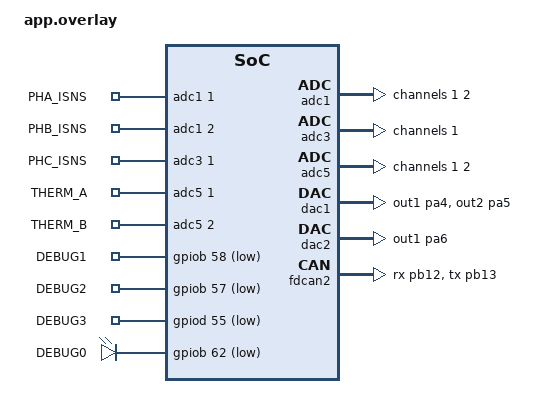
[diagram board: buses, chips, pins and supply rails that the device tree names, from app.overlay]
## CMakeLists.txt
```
cmake_minimum_required(VERSION 3.20.0)

find_package(Zephyr REQUIRED HINTS $ENV{ZEPHYR_BASE})

project("oresat-reaction-wheel" LANGUAGES C)

execute_process(COMMAND bash -c "oresat-configs canopennode od.yaml ../../common/od.yaml -d gen")

target_sources(app PRIVATE
  src/main.c
  gen/OD.c
)

zephyr_include_directories(gen)
```

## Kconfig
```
menu "Zephyr"
source "Kconfig.zephyr"
config MYAPP_STM32
  default y
  bool
  select USE_STM32_HAL_HRTIM
endmenu

module = APP
module-str = APP
```

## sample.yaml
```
sample:
  name: oresat-reaction-wheel
common:
  tags:
    - can
    - canopen
  modules:
    - canopennode
  integration_platforms:
    - nucleo_g474re
```

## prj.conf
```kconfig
CONFIG_ADC=y
CONFIG_GPIO=y
CONFIG_SENSOR=y
CONFIG_CAN=y
CONFIG_CAN_DEFAULT_BITRATE=1000000
CONFIG_CANOPENNODE_V4=y
CONFIG_REBOOT=y
CONFIG_STM32_VREF=y
CONFIG_STM32_TEMP=y
```

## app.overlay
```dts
/*
RW 7.2 device tree

As of Nov 2024, Zephyr does not support HRTIM (High-Resolution Timers) for PWM.
So all HRTIM pins are configured via src/cube/hrtim.* (Generate CubeMX code).
Pins this includes:
- PC6: PHC_H
- PC7: PHC_L
- PC8: PHB_H
- PC9: PHB_L
- PA10: PHA_H
- PA11: PHA_L
*/

/ {
	chosen {
		zephyr,canbus = &fdcan2;
	};

	zephyr,user {
		io-channels = <&adc1 1>, <&adc1 2>, <&adc3 1>, <&adc5 1>, <&adc5 2>;
		io-channel-names = "PHA_ISNS", "PHB_ISNS", "PHC_ISNS", "THERM_A", "THERM_B";
	};

	gpio_inputs {
		compatible = "gpio-keys";
		debug1: debug_1 {
			gpios = <&gpiob 58 GPIO_ACTIVE_LOW>;
			label = "DEBUG1";
		};
		debug2: debug_2 {
			gpios = <&gpiob 57 GPIO_ACTIVE_LOW>;
			label = "DEBUG2";
		};
		debug3: debug_3 {
			gpios = <&gpiod 55 GPIO_ACTIVE_LOW>;
			label = "DEBUG3";
		};
	};

	gpio_outputs {
		compatible = "gpio-leds";
		debug0: debug_0 {
			gpios = <&gpiob 62 GPIO_ACTIVE_LOW>;
			label = "DEBUG0";
		};
	};
};

&adc1 {
	status = "okay";
	#address-cells = <1>;
	#size-cells = <0>;
	st,adc-clock-source = <SYNC>;
	st,adc-prescaler = <4>;

	channel@1 { /* PHA_ISNS */
		reg = <1>;
		zephyr,gain = "ADC_GAIN_1";
		zephyr,reference = "ADC_REF_INTERNAL";
		zephyr,acquisition-time = <ADC_ACQ_TIME_DEFAULT>;
		zephyr,resolution = <12>;
	};

	channel@2 { /* PHB_ISNS */
		reg = <2>;
		zephyr,gain = "ADC_GAIN_1";
		zephyr,reference = "ADC_REF_INTERNAL";
		zephyr,acquisition-time = <ADC_ACQ_TIME_DEFAULT>;
		zephyr,resolution = <12>;
	};
};

&adc2 {
	status = "disabled";
};

&adc3 {
	status = "okay";
	#address-cells = <1>;
	#size-cells = <0>;
	st,adc-clock-source = <SYNC>;
	st,adc-prescaler = <4>;

	channel@1 { /* PHC_ISNS */
		reg = <1>;
		zephyr,gain = "ADC_GAIN_1";
		zephyr,reference = "ADC_REF_INTERNAL";
		zephyr,acquisition-time = <ADC_ACQ_TIME_DEFAULT>;
		zephyr,resolution = <12>;
	};
};

&adc4 {
	status = "disabled";
};

&adc5 {
	status = "okay";
	#address-cells = <1>;
	#size-cells = <0>;
	st,adc-clock-source = <SYNC>;
	st,adc-prescaler = <4>;

	channel@1 { /* THERM_A */
		reg = <1>;
		zephyr,gain = "ADC_GAIN_1";
		zephyr,reference = "ADC_REF_INTERNAL";
		zephyr,acquisition-time = <ADC_ACQ_TIME_DEFAULT>;
		zephyr,resolution = <12>;
	};

	channel@2 { /* THERM_B */
		reg = <2>;
		zephyr,gain = "ADC_GAIN_1";
		zephyr,reference = "ADC_REF_INTERNAL";
		zephyr,acquisition-time = <ADC_ACQ_TIME_DEFAULT>;
		zephyr,resolution = <12>;
	};
};

&dac1 {
	pinctrl-0 = <&dac1_out1_pa4 &dac1_out2_pa5>; /* SCOPE0 and SCOPE1 */
	pinctrl-names = "default";
	status = "okay";
};

&dac2 {
	pinctrl-0 = <&dac2_out1_pa6>; /* SCOPE2 */
	pinctrl-names = "default";
	status = "okay";
};

&dac3 {
	status = "disabled";
};

&dac4 {
	status = "disabled";
};

&fdcan1 {
	status = "disabled";
};

&fdcan2 {
	pinctrl-0 = <&fdcan2_rx_pb12 &fdcan2_tx_pb13>;
	pinctrl-names = "default";
	status = "okay";
};

&fdcan3 {
	status = "disabled";
};

&i2c1 {
	status = "disabled";
};

&i2c2 {
	status = "disabled";
};

&i2c3 {
	status = "disabled";
};

/* lpuart1 is already configured correctly */

&spi1 {
	status = "disabled";
};

&spi2 {
	status = "disabled"; /* default pins used by fdcan2 */
};

/* spi3 is already configured correctly */

&uart4 {
	status = "disabled";
};

&uart5 {
	status = "disabled";
};

&usart1 {
	status = "disabled";
};

&usart2 {
	status = "disabled";
};

&usart3 {
	status = "disabled";
};
```

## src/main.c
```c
#include <zephyr/kernel.h>
#include <zephyr/device.h>
#include <zephyr/drivers/gpio.h>
#include <zephyr/sys/reboot.h>
#include <canopennode.h>
#include <OD.h>
#include "board_sensors.h"
#include "oresat.h"
#include "aux_adc.h"
#include "pwm.h"

#define RW_BASE_NODE_ID 0x3C
#define CAN_INTERFACE   DEVICE_DT_GET(DT_CHOSEN(zephyr_canbus))
#define CAN_BITRATE                                                                                \
	(DT_PROP_OR(DT_CHOSEN(zephyr_canbus), bitrate,                                             \
		    DT_PROP_OR(DT_CHOSEN(zephyr_canbus), bus_speed, CONFIG_CAN_DEFAULT_BITRATE)) / \
	 1000)

static const struct gpio_dt_spec debug0 = GPIO_DT_SPEC_GET(DT_NODELABEL(debug0), gpios);
static const struct gpio_dt_spec debug1 = GPIO_DT_SPEC_GET(DT_NODELABEL(debug1), gpios);
static const struct gpio_dt_spec debug2 = GPIO_DT_SPEC_GET(DT_NODELABEL(debug2), gpios);
static const struct gpio_dt_spec debug3 = GPIO_DT_SPEC_GET(DT_NODELABEL(debug3), gpios);

uint8_t rw_get_node_id(void)
{
	int ret;

	if (!gpio_is_ready_dt(&debug0) || !gpio_is_ready_dt(&debug1) ||
	    !gpio_is_ready_dt(&debug2) || !gpio_is_ready_dt(&debug3)) {
		return DEFAULT_NODE_ID;
	}

	ret = gpio_pin_configure_dt(&debug0, GPIO_OUTPUT);
	ret += gpio_pin_configure_dt(&debug1, GPIO_INPUT);
	ret += gpio_pin_configure_dt(&debug2, GPIO_INPUT);
	ret += gpio_pin_configure_dt(&debug3, GPIO_INPUT);
	if (ret < 0) {
		return DEFAULT_NODE_ID;
	}

	gpio_pin_set_dt(&debug0, 1);
	int debug1_val = gpio_pin_get_dt(&debug1);
	int debug2_val = gpio_pin_get_dt(&debug2);
	int debug3_val = gpio_pin_get_dt(&debug3);
	gpio_pin_set_dt(&debug0, 0);

	if ((debug1_val < 0) || (debug2_val < 0) || (debug3_val < 0)) {
		return DEFAULT_NODE_ID;
	}
	return RW_BASE_NODE_ID + ((debug1_val + debug2_val + debug3_val) * 4);
}

int main(void)
{
	k_timepoint_t timepoint;
	uint8_t node_id = rw_get_node_id();

	canopennode_init(CAN_INTERFACE, CAN_BITRATE, node_id);
	board_sensors_init();
	aux_adc_init();
	hrtim_pwm_start();

	uint32_t loop = 0;
	uint32_t elapsed_us = 10000;
	while (canopennode_is_running()) {
		timepoint = sys_timepoint_calc(K_USEC(elapsed_us));
		if (loop % 10 == 0) {
			board_sensors_fill_od();
			aux_adc_update();
		}
		co_update(elapsed_us);
		k_sleep(sys_timepoint_timeout(timepoint));
		loop++;
	}

	hrtim_pwm_stop();
	canopennode_stop(CAN_INTERFACE);
	sys_reboot(SYS_REBOOT_COLD);

	return 0;
}
```

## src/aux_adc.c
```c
#include <zephyr/device.h>
#include <zephyr/devicetree.h>
#include <zephyr/drivers/adc.h>
#include <zephyr/kernel.h>
#include "aux_adc.h"

static const struct adc_dt_spec adc_channels[] = {
	ADC_DT_SPEC_GET_BY_NAME(DT_PATH(zephyr_user), therm_a),
	ADC_DT_SPEC_GET_BY_NAME(DT_PATH(zephyr_user), therm_b),
};
#define CHANNEL_COUNT ARRAY_SIZE(adc_channels)

static uint16_t buf = 0;
static struct adc_sequence sequence = {
	.buffer = &buf,
	/* buffer size in bytes, not number of samples */
	.buffer_size = sizeof(buf),
};

void aux_adc_init(void)
{
	int err;

	/* Configure channels individually prior to sampling. */
	for (size_t i = 0U; i < CHANNEL_COUNT; i++) {
		if (!adc_is_ready_dt(&adc_channels[i])) {
			printk("ADC controller device %s not ready\n", adc_channels[i].dev->name);
			return;
		}

		err = adc_channel_setup_dt(&adc_channels[i]);
		if (err < 0) {
			printk("Could not setup channel #%d (%d)\n", i, err);
			return;
		}
	}
}

void aux_adc_update(void)
{
	int err;

	for (size_t i = 0U; i < CHANNEL_COUNT; i++) {
		int32_t val_mv;

		printk("- %s, channel %d: ", adc_channels[i].dev->name, adc_channels[i].channel_id);

		(void)adc_sequence_init_dt(&adc_channels[i], &sequence);

		err = adc_read_dt(&adc_channels[i], &sequence);
		if (err < 0) {
			printk("Could not read (%d)\n", err);
			continue;
		}

		/*
		 * If using differential mode, the 16 bit value
		 * in the ADC sample buffer should be a signed 2's
		 * complement value.
		 */
		if (adc_channels[i].channel_cfg.differential) {
			val_mv = (int32_t)((int16_t)buf);
		} else {
			val_mv = (int32_t)buf;
		}
		printk("%" PRId32, val_mv);
		err = adc_raw_to_millivolts_dt(&adc_channels[i], &val_mv);
		/* conversion to mV may not be supported, skip if not */
		if (err < 0) {
			printk(" (value in mV not available)\n");
		} else {
			printk(" = %" PRId32 " mV\n", val_mv);
		}
	}
}
```

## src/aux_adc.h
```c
#ifndef AUX_ADC_H
#define AUX_ADC_H

void aux_adc_init(void);
void aux_adc_update(void);

#endif
```

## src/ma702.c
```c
#include <stdbool.h>
#include <stdint.h>
#include <zephyr/drivers/spi.h>
#include <zephyr/kernel.h>
#include "ma702.h"

#define MA702_REG_ZERO_POSITION        0
#define MA702_REG_BCT                  2
#define MA702_REG_TRIMMINGS            3
#define MA702_REG_ABZ                  4
#define MA702_REG_MAG_FIELD_THRESHOLDS 6
#define MA702_REG_ROTATION_DIRECTION   9
#define MA702_REG_MAG_FIELD_FLAGS      27

#define DEFAULT_MGL_THRESH_REG_VAL ((0b000 << 5) | (0b111 << 2))

// in mT (millitesla)
static const uint8_t field_strength_estimates[] = {
	0, 30, 45, 60, 74, 88, 102, 116,
};
#define FIELD_STRENGTH_ESTIMATES_COUNT ARRAY_SIZE(field_strength_estimates)

enum {
	MA702_ERROR_NONE = 0,
	MA702_ERROR_SPI_TRANSACTION,
	MA702_ERROR_WRITE_READBACK,
	MA702_ERROR_INVALID_ARGS,
} ma702_error_enum;

// spinlock to honor min reg read time
static inline void ma702_spinlock(void)
{
	for (uint8_t i = 0; i < 128; i++) {
		__asm__("nop");
	}
}

static bool ma702_write_reg(const struct spi_dt_spec *spec, uint8_t reg, uint8_t value)
{
	uint16_t tx_buffer = (((uint16_t)((0b100 << 5) | reg)) << 8) | value;
	const struct spi_buf tx_buf = {
		.buf = &tx_buffer,
		.len = sizeof(tx_buffer),
	};
	const struct spi_buf_set tx_buf_set = {
		.buffers = &tx_buf,
		.count = 1,
	};

	uint16_t rx_buffer = 0;
	const struct spi_buf rx_buf = {
		.buf = &rx_buffer,
		.len = sizeof(uint16_t),
	};
	const struct spi_buf_set rx_buf_set = {
		.buffers = &rx_buf,
		.count = 1,
	};

	spi_transceive_dt(spec, &tx_buf_set, &rx_buf_set);
	k_sleep(K_MSEC(20)); // delay for reg write to work

	// Reset to angle read
	tx_buffer = 0x0;
	rx_buffer = 0x0;

	int err = spi_transceive_dt(spec, &tx_buf_set, &rx_buf_set);
	if (err != 0) {
		return err;
	}
	ma702_spinlock();

	uint8_t value_readback = (uint8_t)(rx_buffer >> 8);
	return value_readback == value; // Confirm values written correctly
}

static int ma702_read_reg(const struct spi_dt_spec *spec, uint8_t reg, uint16_t *value)
{
	uint16_t tx_buffer = ((uint16_t)((0b010 << 5) | 0x1B)) << 8;
	const struct spi_buf tx_buf = {
		.buf = &tx_buffer,
		.len = sizeof(uint16_t),
	};
	const struct spi_buf_set tx_buf_set = {
		.buffers = &tx_buf,
		.count = 1,
	};

	uint16_t rx_buffer = 0;
	const struct spi_buf rx_buf = {
		.buf = &rx_buffer,
		.len = sizeof(uint16_t),
	};
	const struct spi_buf_set rx_buf_set = {
		.buffers = &rx_buf,
		.count = 1,
	};

	int err = spi_transceive_dt(spec, &tx_buf_set, &rx_buf_set);
	if (err != 0) {
		return err;
	}
	ma702_spinlock();

	// Then read the contents, resetting tx_buf to 0 to queue an angle read next
	tx_buffer = 0x0;
	rx_buffer = 0x0;

	err = spi_transceive_dt(spec, &tx_buf_set, &rx_buf_set);
	if (err != 0) {
		return err;
	}
	ma702_spinlock();

	*value = rx_buffer;
	return 0;
}

int ma702_get_angle_mdeg(const struct spi_dt_spec *spec, uint32_t *millidegrees)
{
	uint16_t angle;
	int ret = ma702_read_reg(spec, MA702_REG_ZERO_POSITION, &angle);
	if (ret == 0) {
		*millidegrees = ma702_angle_raw_to_mdeg(angle);
	}
	return ret;
}

int ma702_get_bct(const struct spi_dt_spec *spec, uint8_t *bct)
{
	uint16_t value;
	int ret = ma702_read_reg(spec, MA702_REG_BCT, &value);
	if (ret == 0) {
		*bct = (value >> 8);
	}
	return ret;
}

int ma702_get_trimmings(const struct spi_dt_spec *spec, ma702_trimmings_t *trimmings)
{
	return 0;
	uint16_t value;
	int ret = ma702_read_reg(spec, MA702_REG_TRIMMINGS, &value);
	if (ret == 0) {
		trimmings->x = (value >> 8) & 1;
		trimmings->y = (value >> 9) & 1;
	}
	return ret;
}

int ma702_get_abz(const struct spi_dt_spec *spec, ma702_abz_t *abz)
{
	return 0;
	uint16_t value;
	int ret = ma702_read_reg(spec, MA702_REG_ABZ, &value);
	if (ret == 0) {
		abz->index_length_index_position = (value >> 10) & 0xF;
		abz->pluses_per_turn = (value >> 14) & 0x3;
	}
	return ret;
}

int ma702_get_mag_thresholds(const struct spi_dt_spec *spec, ma702_mag_threadhold_t *threshholds)
{
	uint16_t value;
	int ret = ma702_read_reg(spec, MA702_REG_MAG_FIELD_THRESHOLDS, &value);
	if (ret == 0) {
		threshholds->mglt = (value >> 13) & 0x7;
		threshholds->mght = (value >> 10) & 0x7;
	}
	return ret;
}

int ma702_get_rotation_direction(const struct spi_dt_spec *spec,
				 ma702_rotation_direction_enum *direciton)
{
	uint16_t value;
	int ret = ma702_read_reg(spec, MA702_REG_ROTATION_DIRECTION, &value);
	if (ret == 0) {
		*direciton = (ma702_rotation_direction_enum)(value >> 15) & 0x1;
	}
	return ret;
}

int ma702_get_mag_flags(const struct spi_dt_spec *spec, ma702_mag_flags_t *mag_flags)
{
	return 0;
	uint16_t value;
	int ret = ma702_read_reg(spec, MA702_REG_MAG_FIELD_FLAGS, &value);
	if (ret == 0) {
		mag_flags->mgh = (value >> 15) & 0x1;
		mag_flags->mgl = (value >> 14) & 0x1;
		mag_flags->mg1l = (value >> 11) & 0x1;
		mag_flags->mg2l = (value >> 10) & 0x1;
	}
	return ret;
}

static int ma702_get_field_strength_flags(const struct spi_dt_spec *spec,
					  ma702_field_enum *field_strength)
{
	uint16_t field_thresh;
	int err = ma702_read_reg(spec, MA702_REG_MAG_FIELD_FLAGS, &field_thresh);
	if (err != 0) {
		return err;
	}
	field_thresh >>= 8;

	bool mgh = (field_thresh & 0x80) == 0x80;
	// mgl value is not used
	bool mg1l = (field_thresh & 0x8) == 0x8;
	bool mg2l = (field_thresh & 0x4) == 0x4;
	bool mgl_corr = !(mg1l | mg2l);
	if (mgh && !mgl_corr) {
		*field_strength = MA702_FIELD_HIGH;
	} else if (!mgh && mgl_corr) {
		*field_strength = MA702_FIELD_LOW;
	} else if (!mgh && !mgl_corr) {
		*field_strength = MA702_FIELD_IN_RANGE;
	} else {
		*field_strength = MA702_FIELD_UNKNOWN;
	}
	return 0;
}

int ma702_get_field_strength_estimate_mt(const struct spi_dt_spec *spec, uint8_t *field_strength)
{
	int ret = 0;
	ma702_field_enum field_strengths[FIELD_STRENGTH_ESTIMATES_COUNT] = {0};

	for (uint8_t i = 0; i < FIELD_STRENGTH_ESTIMATES_COUNT; i++) {
		ma702_mag_threadhold_t mag_thres = {.mglt = i, .mght = i};
		ret = ma702_set_mag_thresholds(spec, mag_thres);
		if (ret != 0) {
			goto write_fail;
		}

		ma702_get_field_strength_flags(spec, &field_strengths[i]);
		if (field_strengths[i] == MA702_FIELD_LOW) {
			return field_strength_estimates[i];
		}
	}

	// reset to default threshholds
	ma702_mag_threadhold_t mag_thres = {.mglt = 0, .mght = 0x7};
	ret = ma702_set_mag_thresholds(spec, mag_thres);

write_fail:
	return ret;
}

int ma702_set_zero_position(const struct spi_dt_spec *spec)
{
	return ma702_write_reg(spec, MA702_REG_ZERO_POSITION, 0);
}

int ma702_set_mag_thresholds(const struct spi_dt_spec *spec, ma702_mag_threadhold_t threshholds)
{
	uint16_t value = (threshholds.mglt << 13) + (threshholds.mght << 10);
	return ma702_write_reg(spec, MA702_REG_MAG_FIELD_THRESHOLDS, value);
}
```

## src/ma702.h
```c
#ifndef MA702_H
#define MA702_H

#include <stdint.h>
#include <zephyr/drivers/spi.h>

typedef enum {
	MA702_FIELD_HIGH,
	MA702_FIELD_LOW,
	MA702_FIELD_IN_RANGE,
	MA702_FIELD_UNKNOWN,
} ma702_field_enum;

typedef struct {
	bool x;
	bool y;
} ma702_trimmings_t;

typedef struct {
	uint8_t index_length_index_position: 4;
	uint8_t pluses_per_turn: 2;
} ma702_abz_t;

typedef struct {
	uint8_t mglt: 3;
	uint8_t mght: 3;
} ma702_mag_threadhold_t;

typedef struct {
	bool mgh;
	bool mgl;
	bool mg1l;
	bool mg2l;
} ma702_mag_flags_t;

typedef enum {
	MA702_CLOCKWISE = 0,
	MA702_COUNTER_CLOCKWISE = 1,
} ma702_rotation_direction_enum;

static inline uint32_t ma702_angle_raw_to_mdeg(uint16_t raw)
{
	return ((((raw - 0xFFFF) * -1) * 1000) / 0xFFFF) * 360;
}

static inline uint16_t ma702_angle_mdeg_to_raw(uint32_t millidegrees)
{
	return 0xFFFF - (uint16_t)(((millidegrees / 360) * 0xFFFF) / 1000);
}

int ma702_get_angle_mdeg(const struct spi_dt_spec *spec, uint32_t *millidegrees);
int ma702_get_bct(const struct spi_dt_spec *spec, uint8_t *bct);
int ma702_get_trimmings(const struct spi_dt_spec *spec, ma702_trimmings_t *trimmings);
int ma702_get_abz(const struct spi_dt_spec *spec, ma702_abz_t *abz);
int ma702_get_mag_thresholds(const struct spi_dt_spec *spec, ma702_mag_threadhold_t *threshholds);
int ma702_get_rotation_direction(const struct spi_dt_spec *spec,
				 ma702_rotation_direction_enum *direciton);
int ma702_get_mag_flags(const struct spi_dt_spec *spec, ma702_mag_flags_t *mag_flags);
int ma702_get_field_strength_estimate_mt(const struct spi_dt_spec *spec, uint8_t *milliteslas);

int ma702_set_zero_position(const struct spi_dt_spec *spec);
int ma702_set_mag_thresholds(const struct spi_dt_spec *spec, ma702_mag_threadhold_t threshholds);

#endif
```

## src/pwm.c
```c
#include <stdint.h>
#include <assert.h>
#include <zephyr/kernel.h>
#include <zephyr/device.h>
#include <zephyr/drivers/pwm.h>
#include "stm32g4xx_hal_hrtim.h"
#include "hrtim.h"
#include "pwm.h"

/*
PHA: TIMER B: PA10 and PA11
PHB: TIMER E: PC8 and PC9
PHC: TIMER F: PC6 and PC7
*/

#define TIMERUPDATES (HRTIM_TIMERUPDATE_B | HRTIM_TIMERUPDATE_E | HRTIM_TIMERUPDATE_F)
#define OUTPUTS                                                                                    \
	(HRTIM_OUTPUT_TB1 | HRTIM_OUTPUT_TB2 | HRTIM_OUTPUT_TE1 | HRTIM_OUTPUT_TE2 |               \
	 HRTIM_OUTPUT_TF1 | HRTIM_OUTPUT_TF2)
#define TIMERIDS (HRTIM_TIMERID_TIMER_B | HRTIM_TIMERID_TIMER_F | HRTIM_TIMERID_TIMER_E)

void hrtim_pwm_start()
{
	hrtim_pwm_set_dcycle_float(0.5f, 0.5f, 0.5f);

	__HAL_HRTIM_SETCOUNTER(&hhrtim1, HRTIM_TIMERINDEX_TIMER_B, 0);
	__HAL_HRTIM_SETCOUNTER(&hhrtim1, HRTIM_TIMERINDEX_TIMER_E, 0);
	__HAL_HRTIM_SETCOUNTER(&hhrtim1, HRTIM_TIMERINDEX_TIMER_F, 0);

	assert(HAL_HRTIM_SoftwareUpdate(&hhrtim1, TIMERUPDATES) == HAL_OK);

	assert(HAL_HRTIM_WaveformOutputStart(&hhrtim1, OUTPUTS) == HAL_OK);
	assert(HAL_HRTIM_WaveformCountStart_IT(&hhrtim1, TIMERIDS) == HAL_OK);

	assert(HAL_HRTIM_SoftwareUpdate(&hhrtim1, TIMERUPDATES) == HAL_OK);

	__HAL_HRTIM_SETCOMPARE(&hhrtim1, HRTIM_TIMERINDEX_TIMER_B, HRTIM_COMPAREUNIT_3,
			       PWM_CNTR_MAX_ALLOWED);
	__HAL_HRTIM_SETCOMPARE(&hhrtim1, HRTIM_TIMERINDEX_TIMER_E, HRTIM_COMPAREUNIT_3,
			       PWM_CNTR_MAX_ALLOWED);
	__HAL_HRTIM_SETCOMPARE(&hhrtim1, HRTIM_TIMERINDEX_TIMER_F, HRTIM_COMPAREUNIT_3,
			       PWM_CNTR_MAX_ALLOWED);

	HAL_HRTIM_SoftwareUpdate(&hhrtim1, TIMERUPDATES);
}

void hrtim_pwm_stop()
{
	assert(HAL_HRTIM_SoftwareUpdate(&hhrtim1, TIMERUPDATES) == HAL_OK);

	assert(HAL_HRTIM_WaveformCountStop(&hhrtim1, TIMERIDS) == HAL_OK);

	assert(HAL_HRTIM_SoftwareUpdate(&hhrtim1, TIMERUPDATES) == HAL_OK);

	assert(HAL_HRTIM_WaveformOutputStop(&hhrtim1, OUTPUTS) == HAL_OK);

	__HAL_HRTIM_SETCOUNTER(&hhrtim1, HRTIM_TIMERINDEX_TIMER_B, 0);
	__HAL_HRTIM_SETCOUNTER(&hhrtim1, HRTIM_TIMERINDEX_TIMER_E, 0);
	__HAL_HRTIM_SETCOUNTER(&hhrtim1, HRTIM_TIMERINDEX_TIMER_F, 0);

	HAL_HRTIM_WaveformSetOutputLevel(&hhrtim1, HRTIM_TIMERINDEX_TIMER_B, HRTIM_OUTPUT_TB1,
					 HRTIM_OUTPUTLEVEL_INACTIVE);
	HAL_HRTIM_WaveformSetOutputLevel(&hhrtim1, HRTIM_TIMERINDEX_TIMER_B, HRTIM_OUTPUT_TB2,
					 HRTIM_OUTPUTLEVEL_INACTIVE);
	HAL_HRTIM_WaveformSetOutputLevel(&hhrtim1, HRTIM_TIMERINDEX_TIMER_E, HRTIM_OUTPUT_TE1,
					 HRTIM_OUTPUTLEVEL_INACTIVE);
	HAL_HRTIM_WaveformSetOutputLevel(&hhrtim1, HRTIM_TIMERINDEX_TIMER_E, HRTIM_OUTPUT_TE2,
					 HRTIM_OUTPUTLEVEL_INACTIVE);
	HAL_HRTIM_WaveformSetOutputLevel(&hhrtim1, HRTIM_TIMERINDEX_TIMER_F, HRTIM_OUTPUT_TF1,
					 HRTIM_OUTPUTLEVEL_INACTIVE);
	HAL_HRTIM_WaveformSetOutputLevel(&hhrtim1, HRTIM_TIMERINDEX_TIMER_F, HRTIM_OUTPUT_TF2,
					 HRTIM_OUTPUTLEVEL_INACTIVE);

	hrtim_pwm_set_dcycle_float(0.5f, 0.5f, 0.5f);

	assert(HAL_HRTIM_SoftwareUpdate(&hhrtim1, TIMERUPDATES) == HAL_OK);
	assert(HAL_HRTIM_SoftwareUpdate(&hhrtim1, TIMERUPDATES) == HAL_OK);
	assert(HAL_HRTIM_SoftwareUpdate(&hhrtim1, TIMERUPDATES) == HAL_OK);
}

void hrtim_pwm_set_dcycle_uint16(uint16_t a_dcycle, uint16_t b_dcycle, uint16_t c_dcycle)
{
	a_dcycle = PWM_CNTR - a_dcycle;
	b_dcycle = PWM_CNTR - b_dcycle;
	c_dcycle = PWM_CNTR - c_dcycle;

	uint16_t a_compare = CLAMP(a_dcycle, PWM_CNTR_MIN_ALLOWED, PWM_CNTR_MAX_ALLOWED);
	uint16_t b_compare = CLAMP(b_dcycle, PWM_CNTR_MIN_ALLOWED, PWM_CNTR_MAX_ALLOWED);
	uint16_t c_compare = CLAMP(c_dcycle, PWM_CNTR_MIN_ALLOWED, PWM_CNTR_MAX_ALLOWED);
	__HAL_HRTIM_SETCOMPARE(&hhrtim1, HRTIM_TIMERINDEX_TIMER_B, HRTIM_COMPAREUNIT_1, a_compare);
	__HAL_HRTIM_SETCOMPARE(&hhrtim1, HRTIM_TIMERINDEX_TIMER_E, HRTIM_COMPAREUNIT_1, b_compare);
	__HAL_HRTIM_SETCOMPARE(&hhrtim1, HRTIM_TIMERINDEX_TIMER_F, HRTIM_COMPAREUNIT_1, c_compare);
}

void hrtim_pwm_set_dcycle_float(const float a_dcycle, const float b_dcycle, const float c_dcycle)
{
	hrtim_pwm_set_dcycle_uint16((uint16_t)(a_dcycle * ((float)PWM_CNTR)),
				    (uint16_t)(b_dcycle * ((float)PWM_CNTR)),
				    (uint16_t)(c_dcycle * ((float)PWM_CNTR)));
}
```

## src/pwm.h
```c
#ifndef PWM_H
#define PWM_H

#define PWM_CNTR      24000
#define HRTIM_DLL_MUL 32

// 4x HRTIM clock freq, so that up/down set/reset can be changed
#define PWM_CNTR_MARGIN      (4 * (HRTIM_DLL_MUL))
#define PWM_CNTR_MAX_ALLOWED (PWM_CNTR - PWM_CNTR_MARGIN)
#define PWM_CNTR_MIN_ALLOWED (PWM_CNTR_MARGIN)
#define PWM_FREQ             192000
#define PWM_RCR              6

void hrtim_pwm_start(void);
void hrtim_pwm_stop(void);
void hrtim_pwm_set_dcycle_float(float a_dcycle, float b_dcycle, float c_dcycle);

#endif
```
